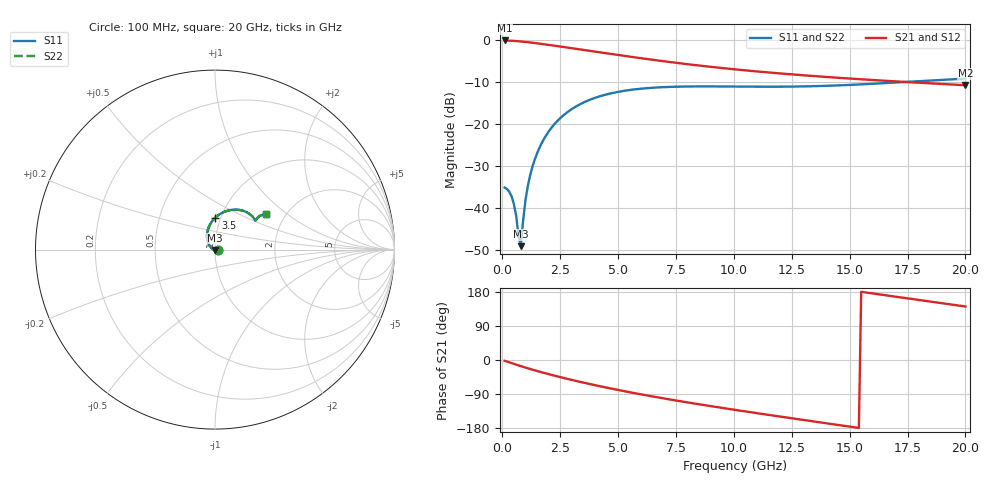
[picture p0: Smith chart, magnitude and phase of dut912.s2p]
! Touchstone file exported from HFSS 2024.1.0
!  File:  C:/UserFiles/LocalFiles/RDL_TSV_Batchsim/temp_RDL_TSV_912_1779956185.aedt
!  Generated:  04:34:55 PM May 28, 2026
!  Design:  RDL_TSV
!  Project:  temp_RDL_TSV_912_1779956185
!  Setup:  Setup1
!  Solution:  Sweep
! Variables:
!  dtsv = 12.4um
!  hbump = 3um
!  htsv = 92.3um
!  ldown = 589.69um
!  lrdl = 263.97um
!  p = 40
!  p1 = 54.61um
!  rhole = 10um
!  subl = 2824.95um
!  t = 450um
!  tdown = 2.86um
!  trdl = 3.45um
!  viad = 10um
!  wdown = 21.19um
!  wrdl = 15.54um
!  xbump = 18um
# GHz S MA R 50.000000
! Terminal data exported
! Port[1] = TM1_1_T1
! Port[2] = TM1_4_T1
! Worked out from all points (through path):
!   200 points, 100 MHz to 20 GHz, reference 50 ohm
!   highest |S21| = -0.16 dB at 100 MHz (marker M1); lowest = -10.8 dB at 20 GHz (marker M2)
!   group delay of S21, straight-line fit = 28.4 ps
!   lowest |S11| = -49.1 dB at 800 MHz (marker M3), VSWR 1.01, Z = 49.8 - j0.264 ohm
!   |S11| at or under -10 dB: start of sweep to 17.54 GHz
!   |S22| runs from -49.1 to -9.2 dB; largest |S21 - S12| = 1.6e-14
!   S11 on the Smith chart (normalised r, x): 100 MHz: 1.04, -0.00; 3.5 GHz: 0.94, +0.35; 20 GHz: 1.59, +0.71
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0.1  0.0174 -3.2  0.9818 -2.1  0.9818 -2.1  0.0174 -3.2
! Gamma 0 0 0 0
! Port Impedance 50 0 50 0
0.3  0.01557 -11.6  0.9774 -6.3  0.9774 -6.3  0.01557 -11.6
0.5  0.01112 -24.8  0.9702 -10.3  0.9702 -10.3  0.01112 -24.8
0.6  0.007983 -36.0  0.9657 -12.3  0.9657 -12.3  0.007986 -36.0
0.7  0.00465 -60.6  0.9607 -14.2  0.9607 -14.2  0.004654 -60.5
0.8  0.003492 -130.6  0.9552 -16.2  0.9552 -16.2  0.003488 -130.5
0.9  0.007088 -176.3  0.9493 -18.1  0.9493 -18.1  0.00708 -176.3
1  0.01224 168.0  0.9431 -20.0  0.9431 -20.0  0.01223 168.0
1.1  0.018 159.3  0.9365 -21.8  0.9365 -21.8  0.01799 159.3
1.3  0.03065 148.1  0.9226 -25.4  0.9226 -25.4  0.03064 148.1
1.6  0.05143 136.1  0.9004 -30.7  0.9004 -30.7  0.05141 136.1
2  0.08059 123.3  0.8698 -37.3  0.8698 -37.3  0.08055 123.3
2.4  0.1095 112.5  0.8391 -43.6  0.8391 -43.6  0.1095 112.5
2.9  0.1433 101.0  0.8016 -51.1  0.8016 -51.1  0.1433 101.0
3.5  0.1788 89.3  0.7582 -59.7  0.7582 -59.7  0.1787 89.3
4.9  0.2369 68.6  0.6658 -77.9  0.6658 -77.9  0.2367 68.6
6.8  0.2717 50.7  0.5632 -99.5  0.5632 -99.5  0.2714 50.7
8.4  0.2785 42.0  0.497 -115.9  0.497 -115.9  0.2782 42.0
10.1  0.2773 37.1  0.4431 -132.1  0.4431 -132.1  0.277 37.2
13.4  0.2801 35.8  0.3708 -161.7  0.3708 -161.7  0.2799 35.8
16.7  0.3067 36.9  0.323 169.5  0.323 169.5  0.3067 37.0
20  0.3449 35.1  0.288 141.2  0.288 141.2  0.345 35.1
